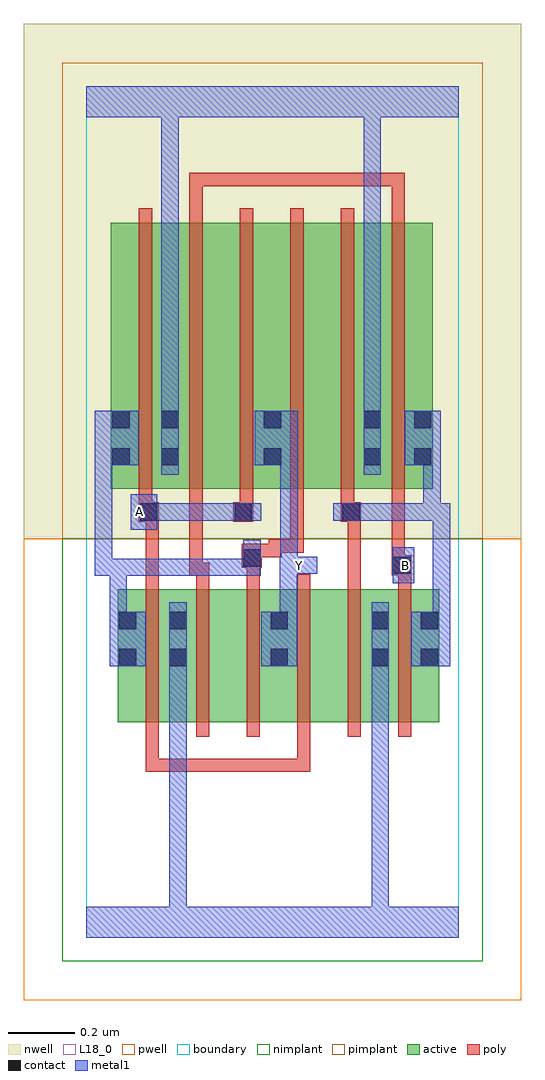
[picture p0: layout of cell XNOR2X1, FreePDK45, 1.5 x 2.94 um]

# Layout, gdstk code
import gdstk
lib = gdstk.Library(unit=1e-6, precision=1e-09)
def R(c, l, rs):  # rectangles x0, y0, x1, y1
    for r in rs: c.add(gdstk.rectangle(r[:2], r[2:], *l))
def A(c, l, x, y, w, h, nx, ny, dx, dy):  # array of equal rectangles
    R(c, l, [(x+i*dx, y+j*dy, x+i*dx+w, y+j*dy+h) for i in range(nx) for j in range(ny)])
active = (1, 0)
pwell = (2, 0)
nwell = (3, 0)
nimplant = (4, 0)
pimplant = (5, 0)
poly = (9, 0)
contact = (10, 0)
metal1 = (11, 0)
L18_0 = (18, 0)
boundary = (235, 0)

xnor2x1 = lib.new_cell('XNOR2X1')
A(xnor2x1, active, 0.246, 0.648, 0.06, 0.4, 3, 1, 0.304, 0)
R(xnor2x1, active, [(0.094,0.648,0.154,1.048), (0.094,0.648,0.306,1.048), (0.246,0.648,0.426,1.048), (0.426,0.648,0.61,1.048), (0.55,0.648,0.73,1.048), (0.73,0.648,0.914,1.048), (0.854,0.648,1.062,1.048), (1.002,0.648,1.062,1.048), (0.074,1.35,0.134,2.044), (0.074,1.35,0.282,2.15), (0.222,1.35,0.282,2.044), (0.222,1.35,0.406,2.15), (0.406,1.35,0.59,2.15), (0.53,1.35,0.59,2.044), (0.53,1.35,0.71,2.15), (0.71,1.35,0.89,2.15), (0.83,1.35,0.89,2.044), (0.83,1.35,1.042,2.15), (0.982,1.35,1.042,2.044)])
R(xnor2x1, pwell, [(-0.188,-0.188,1.308,1.2)])
R(xnor2x1, nwell, [(-0.188,1.2,1.308,2.748)])
R(xnor2x1, nimplant, [(-0.072,-0.072,1.192,1.2)])
R(xnor2x1, pimplant, [(-0.072,1.2,1.192,2.632)])
A(xnor2x1, poly, 0.178, 0.604, 0.04, 0.488, 6, 1, 0.152, 0)
A(xnor2x1, poly, 0.158, 1.27, 0.04, 0.076, 3, 1, 0.304, 0)
A(xnor2x1, poly, 0.158, 1.306, 0.04, 0.888, 6, 1, 0.152, 0)
R(xnor2x1, poly, [(0.178,0.498,0.218,0.644), (0.178,0.498,0.218,0.538), (0.178,0.498,0.218,0.538), (0.178,0.498,0.218,0.538), (0.178,0.498,0.35,0.538), (0.31,0.498,0.35,0.538), (0.31,0.498,0.456,0.538), (0.416,0.498,0.456,0.538), (0.416,0.498,0.456,0.538), (0.416,0.498,0.456,0.538), (0.416,0.498,0.674,0.538), (0.634,0.498,0.674,0.644), (0.634,0.498,0.674,0.538), (0.634,0.498,0.674,0.538), (0.634,0.498,0.674,0.538), (0.178,1.052,0.218,1.29), (0.33,1.052,0.37,1.128), (0.482,1.052,0.522,1.152), (0.786,1.052,0.826,1.29), (0.938,1.052,0.978,1.13), (0.31,1.088,0.35,1.128), (0.31,1.088,0.35,1.128), (0.31,1.088,0.35,1.346), (0.31,1.088,0.37,1.128), (0.918,1.09,0.978,1.15), (0.918,1.11,0.958,1.15), (0.918,1.11,0.958,1.15), (0.918,1.11,0.958,1.346), (0.468,1.112,0.528,1.184), (0.488,1.144,0.588,1.184), (0.548,1.144,0.588,1.198), (0.548,1.158,0.654,1.198), (0.614,1.158,0.654,1.198), (0.614,1.158,0.654,1.198), (0.614,1.158,0.654,1.198), (0.614,1.158,0.654,1.346), (0.158,1.25,0.218,1.31), (0.178,1.25,0.218,1.29), (0.178,1.25,0.218,1.29), (0.442,1.25,0.502,1.31), (0.766,1.25,0.826,1.31), (0.786,1.25,0.826,1.29), (0.786,1.25,0.826,1.29), (0.31,2.154,0.35,2.3), (0.918,2.154,0.958,2.3), (0.31,2.26,0.35,2.3), (0.31,2.26,0.456,2.3), (0.416,2.26,0.456,2.3), (0.416,2.26,0.456,2.3), (0.416,2.26,0.456,2.3), (0.416,2.26,0.674,2.3), (0.634,2.26,0.674,2.3), (0.634,2.26,0.674,2.3), (0.634,2.26,0.674,2.3), (0.634,2.26,0.78,2.3), (0.74,2.26,0.78,2.3), (0.74,2.26,0.78,2.3), (0.74,2.26,0.78,2.3), (0.74,2.26,0.958,2.3), (0.918,2.26,0.958,2.3), (0.918,2.26,0.958,2.3), (0.918,2.26,0.958,2.3)])
A(xnor2x1, contact, 0.25, 0.816, 0.052, 0.052, 3, 2, 0.304, 0.112)
R(xnor2x1, contact, [(0.098,0.816,0.15,0.868), (1.006,0.816,1.058,0.868), (0.098,0.928,0.15,0.98), (1.006,0.928,1.058,0.98), (0.922,1.094,0.974,1.146), (0.472,1.116,0.524,1.168), (0.162,1.254,0.214,1.306), (0.446,1.254,0.498,1.306), (0.77,1.254,0.822,1.306), (0.078,1.42,0.13,1.472), (0.226,1.42,0.278,1.472), (0.534,1.42,0.586,1.472), (0.834,1.42,0.886,1.472), (0.986,1.42,1.038,1.472), (0.078,1.532,0.13,1.584), (0.226,1.532,0.278,1.584), (0.534,1.532,0.586,1.584), (0.834,1.532,0.886,1.584), (0.986,1.532,1.038,1.584)])
R(xnor2x1, metal1, [(0,0,1.12,0.092), (0.25,0.04,0.302,0.092), (0.25,0.04,0.302,0.092), (0.25,0.04,0.302,0.092), (0.25,0.04,0.302,0.092), (0.25,0.04,0.302,0.092), (0.25,0.04,0.302,0.092), (0.25,0.04,0.302,0.092), (0.25,0.04,0.302,0.092), (0.25,0.04,0.302,0.092), (0.25,0.04,0.302,0.092), (0.25,0.04,0.302,0.84), (0.858,0.04,0.91,0.092), (0.858,0.04,0.91,0.092), (0.858,0.04,0.91,0.092), (0.858,0.04,0.91,0.092), (0.858,0.04,0.91,0.092), (0.858,0.04,0.91,0.092), (0.858,0.04,0.91,0.092), (0.858,0.04,0.91,0.092), (0.858,0.04,0.91,0.092), (0.858,0.04,0.91,0.092), (0.858,0.04,0.91,0.092), (0.858,0.04,0.91,0.092), (0.858,0.04,0.91,0.84), (0.25,0.788,0.302,0.84), (0.25,0.788,0.302,0.84), (0.25,0.788,0.302,1.008), (0.858,0.788,0.91,1.008), (0.07,0.816,0.178,0.98), (0.526,0.816,0.634,0.98), (0.978,0.816,1.094,0.98), (0.07,0.928,0.122,1.14), (0.582,0.928,0.634,1.146), (1.042,0.928,1.094,1.306), (1.042,0.928,1.094,0.98), (1.042,0.928,1.094,0.98), (0.922,1.066,0.986,1.174), (0.026,1.088,0.078,1.14), (0.026,1.088,0.078,1.14), (0.026,1.088,0.078,1.472), (0.026,1.088,0.122,1.14), (0.07,1.088,0.25,1.14), (0.198,1.088,0.25,1.14), (0.198,1.088,0.25,1.14), (0.198,1.088,0.25,1.14), (0.198,1.088,0.36,1.14), (0.308,1.088,0.36,1.14), (0.308,1.088,0.36,1.14), (0.308,1.088,0.36,1.14), (0.308,1.088,0.524,1.14), (0.472,1.088,0.524,1.196), (0.582,1.094,0.694,1.146), (0.584,1.094,0.636,1.472), (0.584,1.094,0.636,1.146), (0.584,1.094,0.636,1.146), (0.134,1.226,0.214,1.334), (0.162,1.254,0.25,1.306), (0.198,1.254,0.25,1.306), (0.198,1.254,0.36,1.306), (0.308,1.254,0.36,1.306), (0.308,1.254,0.36,1.306), (0.308,1.254,0.36,1.306), (0.308,1.254,0.47,1.306), (0.418,1.254,0.526,1.306), (0.742,1.254,0.85,1.306), (0.798,1.254,0.85,1.306), (0.798,1.254,0.85,1.306), (0.798,1.254,1.066,1.306), (1.014,1.254,1.066,1.472), (1.014,1.254,1.066,1.306), (1.014,1.254,1.066,1.306), (1.014,1.254,1.094,1.306), (0.226,1.392,0.278,1.612), (0.834,1.392,0.886,1.612), (0.026,1.42,0.158,1.584), (0.506,1.42,0.636,1.584), (0.958,1.42,1.066,1.584), (0.226,1.56,0.278,1.612), (0.226,1.56,0.278,1.612), (0.226,1.56,0.278,1.612), (0.226,1.56,0.278,1.612), (0.226,1.56,0.278,1.612), (0.226,1.56,0.278,1.612), (0.226,1.56,0.278,1.612), (0.226,1.56,0.278,1.612), (0.226,1.56,0.278,2.52), (0.834,1.56,0.886,1.612), (0.834,1.56,0.886,1.612), (0.834,1.56,0.886,1.612), (0.834,1.56,0.886,1.612), (0.834,1.56,0.886,2.52), (0,2.468,1.12,2.56), (0.834,2.468,0.886,2.52), (0.834,2.468,0.886,2.52), (0.834,2.468,0.886,2.52), (0.834,2.468,0.886,2.52)])
R(xnor2x1, L18_0, [(0,0,1.12,0.092), (0.25,0.04,0.302,0.092), (0.25,0.04,0.302,0.092), (0.25,0.04,0.302,0.092), (0.25,0.04,0.302,0.092), (0.25,0.04,0.302,0.092), (0.25,0.04,0.302,0.092), (0.25,0.04,0.302,0.092), (0.25,0.04,0.302,0.092), (0.25,0.04,0.302,0.092), (0.25,0.04,0.302,0.092), (0.25,0.04,0.302,0.84), (0.858,0.04,0.91,0.092), (0.858,0.04,0.91,0.092), (0.858,0.04,0.91,0.092), (0.858,0.04,0.91,0.092), (0.858,0.04,0.91,0.092), (0.858,0.04,0.91,0.092), (0.858,0.04,0.91,0.092), (0.858,0.04,0.91,0.092), (0.858,0.04,0.91,0.092), (0.858,0.04,0.91,0.092), (0.858,0.04,0.91,0.092), (0.858,0.04,0.91,0.092), (0.858,0.04,0.91,0.84), (0.25,0.788,0.302,0.84), (0.25,0.788,0.302,0.84), (0.25,0.788,0.302,1.008), (0.858,0.788,0.91,1.008), (0.526,0.816,0.634,0.98), (0.582,0.928,0.634,1.146), (0.922,1.066,0.986,1.174), (0.582,1.094,0.694,1.146), (0.584,1.094,0.636,1.146), (0.584,1.094,0.636,1.146), (0.584,1.094,0.636,1.472), (0.614,1.094,0.666,1.146), (0.934,1.094,0.986,1.146), (0.134,1.226,0.214,1.334), (0.134,1.254,0.186,1.306), (0.162,1.254,0.25,1.306), (0.198,1.254,0.25,1.306), (0.198,1.254,0.36,1.306), (0.308,1.254,0.36,1.306), (0.308,1.254,0.36,1.306), (0.308,1.254,0.36,1.306), (0.308,1.254,0.47,1.306), (0.418,1.254,0.526,1.306), (0.226,1.392,0.278,1.612), (0.834,1.392,0.886,1.612), (0.506,1.42,0.636,1.584), (0.226,1.56,0.278,1.612), (0.226,1.56,0.278,1.612), (0.226,1.56,0.278,1.612), (0.226,1.56,0.278,1.612), (0.226,1.56,0.278,1.612), (0.226,1.56,0.278,1.612), (0.226,1.56,0.278,1.612), (0.226,1.56,0.278,1.612), (0.226,1.56,0.278,2.52), (0.834,1.56,0.886,1.612), (0.834,1.56,0.886,1.612), (0.834,1.56,0.886,1.612), (0.834,1.56,0.886,1.612), (0.834,1.56,0.886,2.52), (0,2.468,1.12,2.56), (0.834,2.468,0.886,2.52), (0.834,2.468,0.886,2.52), (0.834,2.468,0.886,2.52), (0.834,2.468,0.886,2.52)])
R(xnor2x1, boundary, [(0,0,1.12,2.56)])
xnor2x1.add(gdstk.Label('A', (0.16,1.28), layer=11, texttype=0))
xnor2x1.add(gdstk.Label('B', (0.96,1.12), layer=11, texttype=0))
xnor2x1.add(gdstk.Label('Y', (0.64,1.12), layer=11, texttype=0))

lib.write_gds('XNOR2X1.gds')
